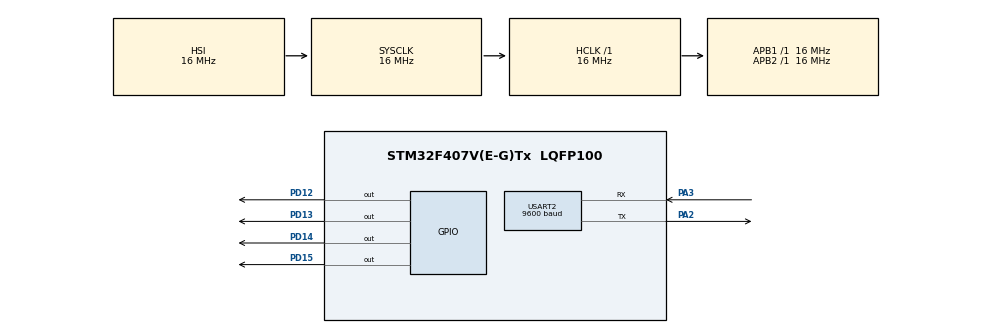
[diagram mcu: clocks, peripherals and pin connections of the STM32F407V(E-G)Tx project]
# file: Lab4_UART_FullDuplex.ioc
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Mcu.Family=STM32F4
Mcu.Name=STM32F407V(E-G)Tx
Mcu.Package=LQFP100
NVIC.PriorityGroup=NVIC_PRIORITYGROUP_4
NVIC.USART2_IRQn=true\:0\:0\:false\:false\:true\:true\:true\:true
PA2.GPIO_PuPd=GPIO_PULLUP
PA2.Mode=Asynchronous
PA2.Signal=USART2_TX
PA3.Mode=Asynchronous
PA3.Signal=USART2_RX
PD12.Signal=GPIO_Output
PD13.Signal=GPIO_Output
PD14.Signal=GPIO_Output
PD15.Signal=GPIO_Output
ProjectManager.HeapSize=0x200
ProjectManager.StackSize=0x400
ProjectManager.TargetToolchain=STM32CubeIDE
RCC.AHBFreq_Value=16000000
RCC.APB1Freq_Value=16000000
RCC.APB2Freq_Value=16000000
RCC.CortexFreq_Value=16000000
RCC.HSE_VALUE=25000000
RCC.HSI_VALUE=16000000
RCC.LSE_VALUE=32768
RCC.SYSCLKFreq_VALUE=16000000
RCC.VCOOutputFreq_Value=192000000
USART2.BaudRate=9600
USART2.VirtualMode=VM_ASYNC
board=custom

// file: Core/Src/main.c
/* USER CODE BEGIN Header */
/**
  ******************************************************************************
  * @file           : main.c
  * @brief          : Main program body
  ******************************************************************************
  * @attention
  *
  * Copyright (c) 2025 STMicroelectronics.
  * All rights reserved.
  *
  * This software is licensed under terms that can be found in the LICENSE file
  * in the root directory of this software component.
  * If no LICENSE file comes with this software, it is provided AS-IS.
  *
  ******************************************************************************
  */
/* USER CODE END Header */
#include "main.h"

/* USER CODE BEGIN PD */
#define TX_IT
#define RX_IT
#define MSG "CSF Lab UART"
/* USER CODE END PD */

UART_HandleTypeDef huart2;

void SystemClock_Config(void);
static void MX_GPIO_Init(void);
static void MX_USART2_UART_Init(void);

/* USER CODE BEGIN 0 */
#ifdef TX_IT
void HAL_UART_TxCpltCallback(UART_HandleTypeDef *huart)
{
	HAL_GPIO_WritePin(GPIOD, GPIO_PIN_12, GPIO_PIN_SET);
}
#endif

#ifdef RX_IT
void HAL_UART_RxCpltCallback(UART_HandleTypeDef *huart)
{
	HAL_GPIO_WritePin(GPIOD, GPIO_PIN_12, GPIO_PIN_SET);
}
#endif
/* USER CODE END 0 */

int main(void)
{
  /* USER CODE BEGIN 1 */
  #ifdef TX_IT
  uint8_t tx_buffer[]= MSG;//no static , I want it to be deleted from memory when quitting function (memory save)
  #endif

  #ifdef RX_IT
  uint8_t rx_buffer[13];
  #endif
  /* USER CODE END 1 */

  /* MCU Configuration--------------------------------------------------------*/

  /* Reset of all peripherals, Initializes the Flash interface and the Systick. */
  HAL_Init();

  /* Configure the system clock */
  SystemClock_Config();

  /* Initialize all configured peripherals */
  MX_GPIO_Init();
  MX_USART2_UART_Init();
  /* USER CODE BEGIN 2 */
  #ifdef TX_IT
  if (HAL_UART_Transmit_IT(&huart2, tx_buffer,sizeof(tx_buffer))!= HAL_OK)
     {
	  Error_Handler();
     }
  #endif

  #ifdef RX_IT
  if (HAL_UART_Receive_IT(&huart2, rx_buffer, sizeof(rx_buffer))!= HAL_OK)
     {
  		Error_Handler();
  	 }
  #endif
  /* USER CODE END 2 */

  /* Infinite loop */
  /* USER CODE BEGIN WHILE */
  while (1)
  {
	HAL_GPIO_TogglePin(GPIOD, GPIO_PIN_13|GPIO_PIN_15);
	HAL_Delay(1000);
    /* USER CODE END WHILE */

  }
}

void SystemClock_Config(void)
{
  RCC_OscInitTypeDef RCC_OscInitStruct = {0};
  RCC_ClkInitTypeDef RCC_ClkInitStruct = {0};

  /** Configure the main internal regulator output voltage
  */
  __HAL_RCC_PWR_CLK_ENABLE();
  __HAL_PWR_VOLTAGESCALING_CONFIG(PWR_REGULATOR_VOLTAGE_SCALE1);

  /** Initializes the RCC Oscillators according to the specified parameters
  * in the RCC_OscInitTypeDef structure.
  */
  RCC_OscInitStruct.OscillatorType = RCC_OSCILLATORTYPE_HSI;
  RCC_OscInitStruct.HSIState = RCC_HSI_ON;
  RCC_OscInitStruct.HSICalibrationValue = RCC_HSICALIBRATION_DEFAULT;
  RCC_OscInitStruct.PLL.PLLState = RCC_PLL_NONE;
  if (HAL_RCC_OscConfig(&RCC_OscInitStruct) != HAL_OK)
  {
    Error_Handler();
  }

  /** Initializes the CPU, AHB and APB buses clocks
  */
  RCC_ClkInitStruct.ClockType = RCC_CLOCKTYPE_HCLK|RCC_CLOCKTYPE_SYSCLK
                              |RCC_CLOCKTYPE_PCLK1|RCC_CLOCKTYPE_PCLK2;
  RCC_ClkInitStruct.SYSCLKSource = RCC_SYSCLKSOURCE_HSI;
  RCC_ClkInitStruct.AHBCLKDivider = RCC_SYSCLK_DIV1;
  RCC_ClkInitStruct.APB1CLKDivider = RCC_HCLK_DIV1;
  RCC_ClkInitStruct.APB2CLKDivider = RCC_HCLK_DIV1;

  if (HAL_RCC_ClockConfig(&RCC_ClkInitStruct, FLASH_LATENCY_0) != HAL_OK)
  {
    Error_Handler();
  }
}

static void MX_USART2_UART_Init(void)
{

  huart2.Instance = USART2;
  huart2.Init.BaudRate = 9600;
  huart2.Init.WordLength = UART_WORDLENGTH_8B;
  huart2.Init.StopBits = UART_STOPBITS_1;
  huart2.Init.Parity = UART_PARITY_NONE;
  huart2.Init.Mode = UART_MODE_TX_RX;
  huart2.Init.HwFlowCtl = UART_HWCONTROL_NONE;
  huart2.Init.OverSampling = UART_OVERSAMPLING_16;
  if (HAL_UART_Init(&huart2) != HAL_OK)
  {
    Error_Handler();
  }

}

static void MX_GPIO_Init(void)
{
  GPIO_InitTypeDef GPIO_InitStruct = {0};

  /* GPIO Ports Clock Enable */
  __HAL_RCC_GPIOA_CLK_ENABLE();
  __HAL_RCC_GPIOD_CLK_ENABLE();

  /*Configure GPIO pin Output Level */
  HAL_GPIO_WritePin(GPIOD, GPIO_PIN_12|GPIO_PIN_13|GPIO_PIN_14|GPIO_PIN_15, GPIO_PIN_RESET);

  /*Configure GPIO pins : PD12 PD13 PD14 PD15 */
  GPIO_InitStruct.Pin = GPIO_PIN_12|GPIO_PIN_13|GPIO_PIN_14|GPIO_PIN_15;
  GPIO_InitStruct.Mode = GPIO_MODE_OUTPUT_PP;
  GPIO_InitStruct.Pull = GPIO_NOPULL;
  GPIO_InitStruct.Speed = GPIO_SPEED_FREQ_LOW;
  HAL_GPIO_Init(GPIOD, &GPIO_InitStruct);

}

void Error_Handler(void)
{
  /* USER CODE BEGIN Error_Handler_Debug */
  /* User can add his own implementation to report the HAL error return state */
  __disable_irq();
  HAL_GPIO_WritePin(GPIOD, GPIO_PIN_14, GPIO_PIN_SET);
  while (1)
  {

  }
  /* USER CODE END Error_Handler_Debug */
}
